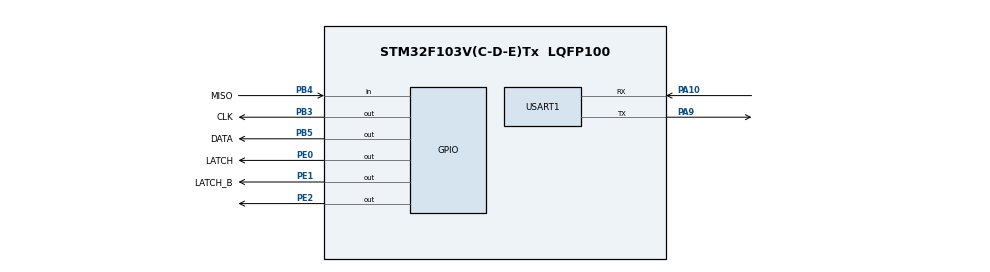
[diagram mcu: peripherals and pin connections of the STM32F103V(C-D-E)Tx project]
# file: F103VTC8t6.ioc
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Mcu.Family=STM32F1
Mcu.Name=STM32F103V(C-D-E)Tx
Mcu.Package=LQFP100
NVIC.PriorityGroup=NVIC_PRIORITYGROUP_4
NVIC.USART1_IRQn=true\:0\:0\:false\:false\:true\:true\:true\:true
PA10.Mode=Asynchronous
PA10.Signal=USART1_RX
PA13.Mode=Serial_Wire
PA13.Signal=SYS_JTMS-SWDIO
PA14.Mode=Serial_Wire
PA14.Signal=SYS_JTCK-SWCLK
PA9.Mode=Asynchronous
PA9.Signal=USART1_TX
PB3.GPIO_Label=CLK
PB3.GPIO_Speed=GPIO_SPEED_FREQ_LOW
PB3.Signal=GPIO_Output
PB4.GPIO_Label=MISO
PB4.Signal=GPIO_Input
PB5.GPIO_Label=DATA
PB5.GPIO_Speed=GPIO_SPEED_FREQ_LOW
PB5.Signal=GPIO_Output
PE0.GPIO_Label=LATCH
PE0.GPIO_Speed=GPIO_SPEED_FREQ_LOW
PE0.Signal=GPIO_Output
PE1.GPIO_Label=LATCH_B
PE1.Signal=GPIO_Output
PE2.Signal=GPIO_Output
ProjectManager.HeapSize=0x200
ProjectManager.StackSize=0x400
ProjectManager.TargetToolchain=MDK-ARM V5.32
RCC.APB1Freq_Value=8000000
RCC.APB2Freq_Value=8000000
USART1.VirtualMode=VM_ASYNC
board=custom

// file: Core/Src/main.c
/* USER CODE BEGIN Header */
/**
  ******************************************************************************
  * @file           : main.c
  * @brief          : Main program body
  ******************************************************************************
  * @attention
  *
  * Copyright (c) 2024 STMicroelectronics.
  * All rights reserved.
  *
  * This software is licensed under terms that can be found in the LICENSE file
  * in the root directory of this software component.
  * If no LICENSE file comes with this software, it is provided AS-IS.
  *
  ******************************************************************************
  */
/* USER CODE END Header */
#include "main.h"

/* USER CODE BEGIN Includes */
#include <stdio.h>
#include <string.h>
/* USER CODE END Includes */

UART_HandleTypeDef huart1;

/* USER CODE BEGIN PV */
// bien nut nhan
char button1 =0, button2 = 0 , button3 = 0 ,button4 =0 ;
// bien khoi tao du lieu, xu ly nut nhan
char data165 = 0xFF;

//bien don vi cua led
static int8_t a1=0;
//bien hang chuc cua led
static int8_t a2=0;

// bien uart
uint8_t rx_data;
uint8_t index_rx=0;
uint8_t rx_buffer[2];

// bien nhan gia tri so nguyen
uint16_t ms =0;
// khoi tao hang chuc, don vi

/* USER CODE END PV */

void SystemClock_Config(void);
static void MX_GPIO_Init(void);
static void MX_USART1_UART_Init(void);

/* USER CODE BEGIN 0 */
//-------------------------------------------------------------------------------------------------------------
//Ham tao so ngay nhien tu 0-9
void tachChucDonVi(int n) {
    // Tách hàng ch?c và hàng don v?
    a2 = n / 10;
    a1 = n % 10;
}

void UART_Send_Value(int value) {
    char buffer[3]; // Tao mang co kieu ky tu chua gia tri, bao gom 2 chu so và ký tu ket thúc chuoi("55 ")
    snprintf(buffer, sizeof(buffer), "%02d", value); // Format gia tri thanh chuoi(55)
    HAL_UART_Transmit(&huart1, (uint8_t *)buffer, strlen(buffer), HAL_MAX_DELAY); // Gui chuoi qua UART (55)
}

// Khai bao ham dua gia tri len Terminal may tinh.
void send_count_to_terminal(int8_t tens, int8_t ones) {
		UART_Send_Value(tens * 10 + ones); // Gui giá tri(55) qua UART
}
// Ham chuyen doi gia tri mang thanh so nguyen
uint16_t docSoTuMang(uint8_t mang[], int doDai) {
    uint16_t ms = 0; // Khai báo bi?n s? nguyên c?c b? và kh?i t?o b?ng 0
    for (int i = 0; i < doDai; i++) {
        if (mang[i] >= '0' && mang[i] <= '9') { // Ki?m tra ký t? có ph?i là s? không
            ms = ms * 10 + (mang[i] - '0'); // Chuy?n d?i ký t? thành s? nguyên và c?ng vào bi?n s? nguyên
        }
    }
    return ms; // Tr? v? giá tr? s? nguyên
}

// Ham truyen du lieu
void HAL_UART_RxCpltCallback(UART_HandleTypeDef *huart) {
    if (huart->Instance == USART1) {
        if (rx_data == '\n') {
            HAL_UART_Transmit(&huart1, (uint8_t *)rx_buffer, index_rx, 100); // gui du lieu da nhan
            memset(rx_buffer, 0, sizeof(rx_buffer)); // xoa du lieu trong mang rx_buffer
            index_rx = 0; // dat lai index_rx chuan bi cho du lieu tiep theo
        } else {
            rx_buffer[index_rx++] = rx_data; // luu ky tu vao mang rx_bufer
						ms= docSoTuMang(rx_buffer, sizeof(rx_buffer));// ms tra ve 00->99.
						tachChucDonVi(ms);
            // Kiem tra xem mang dã day chua
            if (index_rx >= sizeof(rx_buffer)) {
                // Neu da day, không làm gì cho xu lý tùy ý
            }
        }
        HAL_UART_Receive_IT(&huart1, &rx_data, 1); // Ti?p t?c nh?n d? li?u
    }
}
//-------------------------------------------------------------------------------------------------------------

//Ham xuat gia tri led ra chan PB5
//Ham doc vi tri led va gia tri led--> ten ham led(doi so vi tri, doi so gia tri led)
unsigned char maled_cc[10] = {0xAF, 0xA0, 0x6E, 0xEA, 0xE1, 0xCB, 0xCF, 0xA2, 0xEF, 0xEB};
unsigned char led_position[5] = { 0x08, 0x10,0x20,0x40,0x80};  //Vi Tri Quet Led
void led(uint8_t vi_tri, uint8_t sang_led)
{
	for( uint8_t i=0; i<8;i++)
	{
		HAL_GPIO_WritePin(DATA_GPIO_Port,DATA_Pin,(led_position[vi_tri]&(0x80>>i)));

		HAL_GPIO_WritePin(GPIOB,GPIO_PIN_3, GPIO_PIN_SET);
		HAL_GPIO_WritePin(GPIOB,GPIO_PIN_3, GPIO_PIN_RESET);
	}
	for( uint8_t i=0; i<8;i++)
	{
		HAL_GPIO_WritePin(DATA_GPIO_Port,DATA_Pin,(maled_cc[sang_led]&(0x80>>i)));
		HAL_GPIO_WritePin(GPIOB,GPIO_PIN_3, GPIO_PIN_SET);
		HAL_GPIO_WritePin(GPIOB,GPIO_PIN_3, GPIO_PIN_RESET);
	}
	HAL_GPIO_WritePin(GPIOE,GPIO_PIN_0, GPIO_PIN_SET);
	HAL_GPIO_WritePin(GPIOE,GPIO_PIN_0, GPIO_PIN_RESET);
}

//Ham lay gia 8 bit doc vao tu chan PB4
	void get_data165(){
	HAL_GPIO_WritePin( LATCH_B_GPIO_Port,LATCH_B_Pin, GPIO_PIN_SET);
	HAL_GPIO_WritePin( LATCH_B_GPIO_Port,LATCH_B_Pin, GPIO_PIN_RESET);
	HAL_GPIO_WritePin( LATCH_B_GPIO_Port,LATCH_B_Pin, GPIO_PIN_SET);
	for(uint8_t i = 0; i<=7; i++){
		if(HAL_GPIO_ReadPin( 	MISO_GPIO_Port, MISO_Pin)==0)
			data165 &=~(1<<(7-i));
		else data165 |=(1<<(7-i));

		HAL_GPIO_WritePin(GPIOB,GPIO_PIN_3, GPIO_PIN_SET);
		HAL_GPIO_WritePin(GPIOB,GPIO_PIN_3, GPIO_PIN_RESET);
	}
}

//Ham xu ly khi nhan nut.
void raise_value()
{

	get_data165();
	if((data165 & (1<<5)) == 0 && button1==0)
	{
		//caulenh_1.0
		button1 = 1; a1++ ;
		//dk_1.1
		if(a1==10){
			a1=0; a2++;
		}
		//dk_1.2
		if(a1 == -1) {
			a1 = 9; a2--;
		}
		//caulenh1.3
		send_count_to_terminal(a2, a1); // doi so vao a2=5, a1=5
	}
	else if((data165 & (1<<5))== (1<<5) && button1 == 1 )
	{
		button1 = 0;
	}
	//Nut nhan 2(dk_1)
	if((data165 & (1<<5)) == 0 && button2==0)
	{
		//caulenh_1.0
		button2 = 1; a1++ ;
		//dk_1.1
		if(a1==10){
			a1=0; a2++;
		}
		//dk_1.2
		if(a1 == -1) {
			a1 = 9; a2--;
		}
		//caulenh1.3
		send_count_to_terminal(a2, a1); // doi so vao a2=5, a1=5
	}
	else if((data165 & (1<<5))== (1<<5) && button2 == 1 )
	{
		button2 = 0;
	}

	//Nut nhan 3(dk_2)
	if((data165 & (1<<6)) == 0 && button3==0)
	{
		button3=1 ; a1++ ;
		if(a1==10){
			a1=0; a2++;
		}
		if(a1 == -1) {
			a1 = 9; a2--;
		}
		send_count_to_terminal(a2, a1); // doi so vao a2=5, a1=5
	}
	else if((data165 & (1<<6)) == (1<<6) && button3 == 1 )
	{
		button3=0;
	}
	//Nut nhan 4
	if((data165 & (1<<7)) == 0 && button4==0)
	{
		button4 = 1 ; a1-- ;
		if(a1==10){
			a1=0; a2++;
		}
		if(a1 == -1) {
			a1 = 9; a2--;
		}
		send_count_to_terminal(a2, a1); // doi so vao a2=5, a1=5
	}
	else if((data165 & (1<<7))== (1<<7) && button4 == 1 )
	{
		button4 = 0;
	}

//Ham thuc thi chinh.
led(0, a2);//a2: hang chuc, a1 hang don vi
led(1, a1);// Ham tra ve led sang vi tri 0-->2, gia tri moi led tu (0-->9).
}

//Ham truyen du lieu

/* USER CODE END 0 */

int main(void)
{

  /* MCU Configuration--------------------------------------------------------*/

  /* Reset of all peripherals, Initializes the Flash interface and the Systick. */
  HAL_Init();

  /* Configure the system clock */
  SystemClock_Config();

  /* Initialize all configured peripherals */
  MX_GPIO_Init();
  MX_USART1_UART_Init();
  /* USER CODE BEGIN 2 */
 HAL_UART_Receive_IT(&huart1, &rx_data, 1);
  /* USER CODE END 2 */

  /* Infinite loop */
  /* USER CODE BEGIN WHILE */
	HAL_GPIO_WritePin(GPIOB,GPIO_PIN_3, GPIO_PIN_RESET);
	HAL_GPIO_WritePin(GPIOE,GPIO_PIN_0, GPIO_PIN_RESET);
	HAL_GPIO_WritePin(GPIOE,GPIO_PIN_2, GPIO_PIN_RESET);

  while (1)
  {
		raise_value();
    /* USER CODE END WHILE */

  }
}

void SystemClock_Config(void)
{
  RCC_OscInitTypeDef RCC_OscInitStruct = {0};
  RCC_ClkInitTypeDef RCC_ClkInitStruct = {0};

  /** Initializes the RCC Oscillators according to the specified parameters
  * in the RCC_OscInitTypeDef structure.
  */
  RCC_OscInitStruct.OscillatorType = RCC_OSCILLATORTYPE_HSI;
  RCC_OscInitStruct.HSIState = RCC_HSI_ON;
  RCC_OscInitStruct.HSICalibrationValue = RCC_HSICALIBRATION_DEFAULT;
  RCC_OscInitStruct.PLL.PLLState = RCC_PLL_NONE;
  if (HAL_RCC_OscConfig(&RCC_OscInitStruct) != HAL_OK)
  {
    Error_Handler();
  }

  /** Initializes the CPU, AHB and APB buses clocks
  */
  RCC_ClkInitStruct.ClockType = RCC_CLOCKTYPE_HCLK|RCC_CLOCKTYPE_SYSCLK
                              |RCC_CLOCKTYPE_PCLK1|RCC_CLOCKTYPE_PCLK2;
  RCC_ClkInitStruct.SYSCLKSource = RCC_SYSCLKSOURCE_HSI;
  RCC_ClkInitStruct.AHBCLKDivider = RCC_SYSCLK_DIV1;
  RCC_ClkInitStruct.APB1CLKDivider = RCC_HCLK_DIV1;
  RCC_ClkInitStruct.APB2CLKDivider = RCC_HCLK_DIV1;

  if (HAL_RCC_ClockConfig(&RCC_ClkInitStruct, FLASH_LATENCY_0) != HAL_OK)
  {
    Error_Handler();
  }
}

static void MX_USART1_UART_Init(void)
{

  huart1.Instance = USART1;
  huart1.Init.BaudRate = 115200;
  huart1.Init.WordLength = UART_WORDLENGTH_8B;
  huart1.Init.StopBits = UART_STOPBITS_1;
  huart1.Init.Parity = UART_PARITY_NONE;
  huart1.Init.Mode = UART_MODE_TX_RX;
  huart1.Init.HwFlowCtl = UART_HWCONTROL_NONE;
  huart1.Init.OverSampling = UART_OVERSAMPLING_16;
  if (HAL_UART_Init(&huart1) != HAL_OK)
  {
    Error_Handler();
  }

}

static void MX_GPIO_Init(void)
{
  GPIO_InitTypeDef GPIO_InitStruct = {0};

  /* GPIO Ports Clock Enable */
  __HAL_RCC_GPIOE_CLK_ENABLE();
  __HAL_RCC_GPIOA_CLK_ENABLE();
  __HAL_RCC_GPIOB_CLK_ENABLE();

  /*Configure GPIO pin Output Level */
  HAL_GPIO_WritePin(GPIOE, GPIO_PIN_2|LATCH_Pin|LATCH_B_Pin, GPIO_PIN_RESET);

  /*Configure GPIO pin Output Level */
  HAL_GPIO_WritePin(GPIOB, CLK_Pin|DATA_Pin, GPIO_PIN_RESET);

  /*Configure GPIO pins : PE2 LATCH_Pin LATCH_B_Pin */
  GPIO_InitStruct.Pin = GPIO_PIN_2|LATCH_Pin|LATCH_B_Pin;
  GPIO_InitStruct.Mode = GPIO_MODE_OUTPUT_PP;
  GPIO_InitStruct.Pull = GPIO_NOPULL;
  GPIO_InitStruct.Speed = GPIO_SPEED_FREQ_LOW;
  HAL_GPIO_Init(GPIOE, &GPIO_InitStruct);

  /*Configure GPIO pins : CLK_Pin DATA_Pin */
  GPIO_InitStruct.Pin = CLK_Pin|DATA_Pin;
  GPIO_InitStruct.Mode = GPIO_MODE_OUTPUT_PP;
  GPIO_InitStruct.Pull = GPIO_NOPULL;
  GPIO_InitStruct.Speed = GPIO_SPEED_FREQ_LOW;
  HAL_GPIO_Init(GPIOB, &GPIO_InitStruct);

  /*Configure GPIO pin : MISO_Pin */
  GPIO_InitStruct.Pin = MISO_Pin;
  GPIO_InitStruct.Mode = GPIO_MODE_INPUT;
  GPIO_InitStruct.Pull = GPIO_NOPULL;
  HAL_GPIO_Init(MISO_GPIO_Port, &GPIO_InitStruct);

}

void Error_Handler(void)
{
  __disable_irq();
  while (1)
  {
  }
}
